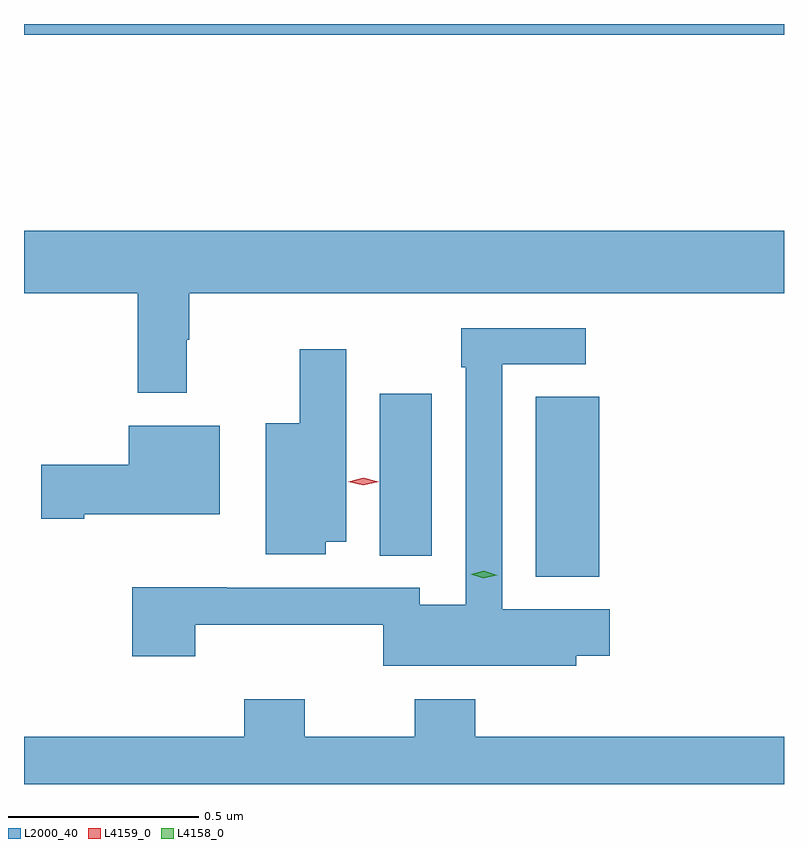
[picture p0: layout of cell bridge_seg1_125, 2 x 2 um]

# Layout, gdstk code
import gdstk
lib = gdstk.Library(unit=1e-6, precision=1e-09)
def R(c, l, rs):  # rectangles x0, y0, x1, y1
    for r in rs: c.add(gdstk.rectangle(r[:2], r[2:], *l))
def P(c, l, *ps):  # polygons
    for p in ps: c.add(gdstk.Polygon(p, *l))
L2000_40 = (2000, 40)
L4158_0 = (4158, 0)
L4159_0 = (4159, 0)

bridge_seg1_125 = lib.new_cell('bridge_seg1_125')
R(bridge_seg1_125, L2000_40, [(262.775,521.681,262.942,522.155), (262.364,521.737,262.501,522.163), (261.428,523.108,263.428,523.136)])
P(bridge_seg1_125, L2000_40, [(261.856,522.305),(261.863,522.305),(261.863,522.428),(263.428,522.428),(263.428,522.592),(261.428,522.592),(261.428,522.428),(261.727,522.428),(261.727,522.165),(261.856,522.165)],
  [(262.881,521.474),(262.969,521.474),(262.969,521.596),(262.686,521.596),(262.686,522.24),(262.906,522.24),(262.906,522.336),(262.578,522.336),(262.578,522.233),(262.59,522.233),(262.59,521.608),(262.47,521.608),(262.47,521.652),(261.961,521.652),(261.961,521.654),(261.713,521.654),(261.713,521.472),(261.878,521.472),(261.878,521.555),(262.374,521.555),(262.374,521.447),(262.881,521.447)],
  [(262.222,521.774),(262.276,521.774),(262.276,522.28),(262.154,522.28),(262.154,522.085),(262.064,522.085),(262.064,521.741),(262.222,521.741)],
  [(261.586,521.846),(261.943,521.846),(261.943,522.079),(261.704,522.079),(261.704,521.976),(261.474,521.976),(261.474,521.834),(261.586,521.834)],
  [(263.428,521.26),(262.616,521.26),(262.616,521.359),(262.456,521.359),(262.456,521.26),(262.167,521.26),(262.167,521.359),(262.007,521.359),(262.007,521.26),(261.428,521.26),(261.428,521.136),(263.428,521.136)])
P(bridge_seg1_125, L4158_0, [(262.637,521.677),(262.603,521.688),(262.603,521.688),(262.603,521.688),(262.638,521.697),(262.673,521.686),(262.673,521.686),(262.673,521.686)])
P(bridge_seg1_125, L4159_0, [(262.321,521.922),(262.281,521.931),(262.281,521.932),(262.281,521.932),(262.321,521.942),(262.361,521.932),(262.361,521.932),(262.361,521.931)])

lib.write_gds('bridge_seg1_125.gds')
